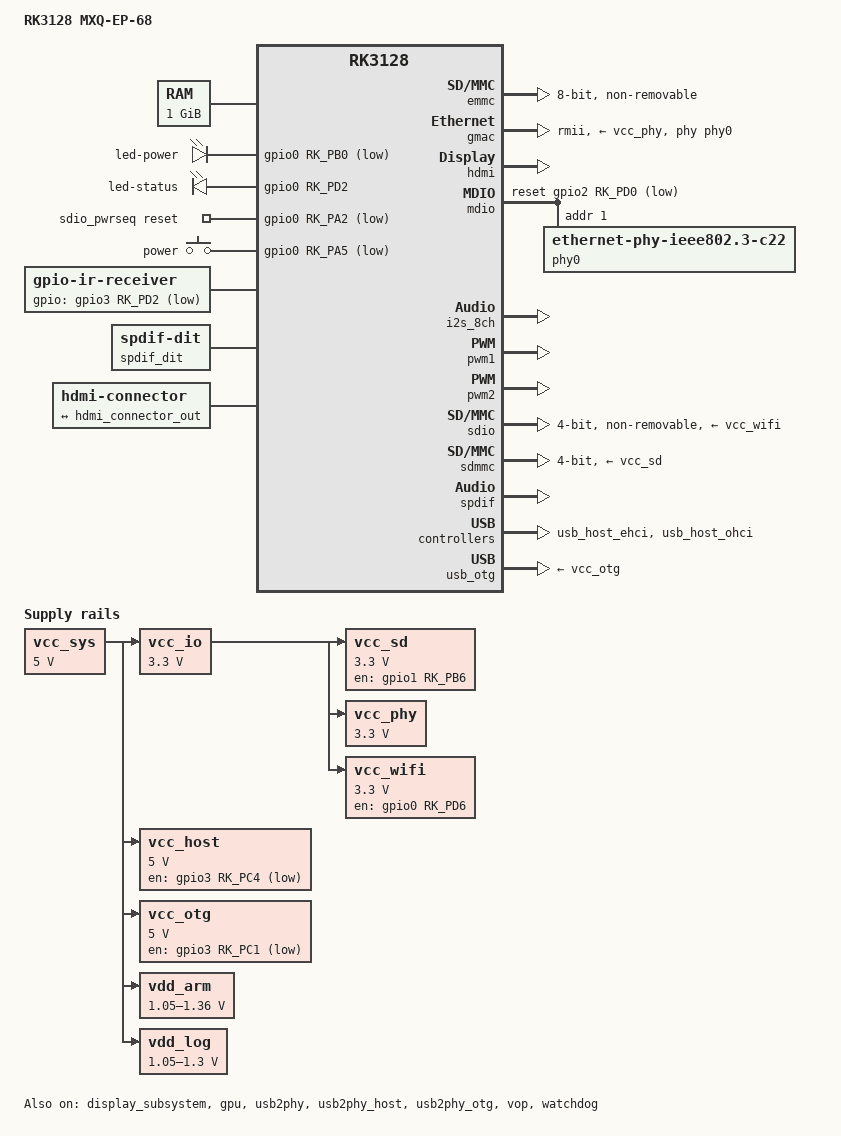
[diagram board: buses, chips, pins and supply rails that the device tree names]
// SPDX-License-Identifier: (GPL-2.0+ OR MIT)
/*
 * RK3128 MXQ-EP-68. The factory resource DTB is the source.
 * RAM is 1 GiB LPDDR2 at 0x60000000.
 * SD data pins GPIO1_C2 and GPIO1_C3 are also UART2.
 * Leave UART2 disabled so the SD slot keeps those pins.
 * The console is on HDMI (tty1).
 */

/dts-v1/;

#include <dt-bindings/gpio/gpio.h>
#include <dt-bindings/input/input.h>
#include <dt-bindings/leds/common.h>
#include <dt-bindings/pinctrl/rockchip.h>
#include "rk3128.dtsi"

/ {
	model = "RK3128 MXQ-EP-68";
	compatible = "rockchip,rk3128-box", "rockchip,rk3128";

	aliases {
		ethernet0 = &gmac;
		mmc0 = &sdmmc;
		mmc1 = &emmc;
		mmc2 = &sdio;
		serial2 = &uart2;
	};

	chosen {
		stdout-path = "serial2:115200n8";
	};

	memory@60000000 {
		device_type = "memory";
		reg = <0x60000000 0x40000000>;
	};

	leds {
		compatible = "gpio-leds";
		pinctrl-names = "default";
		pinctrl-0 = <&led_power &led_status>;

		led-power {
			gpios = <&gpio0 RK_PB0 GPIO_ACTIVE_LOW>;
			function = LED_FUNCTION_POWER;
			default-state = "on";
		};

		led-status {
			gpios = <&gpio0 RK_PD2 GPIO_ACTIVE_HIGH>;
			function = LED_FUNCTION_STATUS;
			linux,default-trigger = "heartbeat";
		};
	};

	sdio_pwrseq: sdio-pwrseq {
		compatible = "mmc-pwrseq-simple";
		pinctrl-names = "default";
		pinctrl-0 = <&wifi_reset>;
		reset-gpios = <&gpio0 RK_PA2 GPIO_ACTIVE_LOW>;
		post-power-on-delay-ms = <200>;
	};

	vcc_sys: regulator-vcc-sys {
		compatible = "regulator-fixed";
		regulator-name = "vcc_sys";
		regulator-min-microvolt = <5000000>;
		regulator-max-microvolt = <5000000>;
		regulator-always-on;
		regulator-boot-on;
	};

	vcc_io: regulator-vcc-io {
		compatible = "regulator-fixed";
		regulator-name = "vcc_io";
		regulator-min-microvolt = <3300000>;
		regulator-max-microvolt = <3300000>;
		regulator-always-on;
		regulator-boot-on;
		vin-supply = <&vcc_sys>;
	};

	vcc_sd: regulator-vcc-sd {
		compatible = "regulator-fixed";
		enable-active-high;
		gpio = <&gpio1 RK_PB6 GPIO_ACTIVE_HIGH>;
		pinctrl-names = "default";
		pinctrl-0 = <&sdmmc_pwren>;
		regulator-name = "vcc_sd";
		regulator-min-microvolt = <3300000>;
		regulator-max-microvolt = <3300000>;
		regulator-boot-on;
		vin-supply = <&vcc_io>;
	};

	vcc_phy: regulator-vcc-phy {
		compatible = "regulator-fixed";
		regulator-name = "vcc_phy";
		regulator-min-microvolt = <3300000>;
		regulator-max-microvolt = <3300000>;
		regulator-always-on;
		regulator-boot-on;
		vin-supply = <&vcc_io>;
	};

	vcc_wifi: regulator-vcc-wifi {
		compatible = "regulator-fixed";
		enable-active-high;
		gpio = <&gpio0 RK_PD6 GPIO_ACTIVE_HIGH>;
		pinctrl-names = "default";
		pinctrl-0 = <&wifi_pwr>;
		regulator-name = "vcc_wifi";
		regulator-min-microvolt = <3300000>;
		regulator-max-microvolt = <3300000>;
		startup-delay-us = <100000>;
		vin-supply = <&vcc_io>;
	};

	vcc_host: regulator-vcc-host {
		compatible = "regulator-fixed";
		gpio = <&gpio3 RK_PC4 GPIO_ACTIVE_LOW>;
		pinctrl-names = "default";
		pinctrl-0 = <&host_vbus_drv>;
		regulator-name = "vcc_host";
		regulator-min-microvolt = <5000000>;
		regulator-max-microvolt = <5000000>;
		regulator-always-on;
		regulator-boot-on;
		vin-supply = <&vcc_sys>;
	};

	vcc_otg: regulator-vcc-otg {
		compatible = "regulator-fixed";
		gpio = <&gpio3 RK_PC1 GPIO_ACTIVE_LOW>;
		pinctrl-names = "default";
		pinctrl-0 = <&otg_vbus_drv>;
		regulator-name = "vcc_otg";
		regulator-min-microvolt = <5000000>;
		regulator-max-microvolt = <5000000>;
		regulator-always-on;
		regulator-boot-on;
		vin-supply = <&vcc_sys>;
	};

	vdd_arm: regulator-vdd-arm {
		compatible = "pwm-regulator";
		pwms = <&pwm1 0 25000 1>;
		pwm-supply = <&vcc_sys>;
		regulator-name = "vdd_arm";
		/* Factory U-Boot: 1.25 V at 36 % inverted duty. */
		regulator-min-microvolt = <1050000>;
		regulator-max-microvolt = <1360000>;
		regulator-ramp-delay = <12500>;
		regulator-always-on;
		regulator-boot-on;
	};

	vdd_log: regulator-vdd-log {
		compatible = "pwm-regulator";
		pwms = <&pwm2 0 25000 1>;
		pwm-supply = <&vcc_sys>;
		regulator-name = "vdd_log";
		regulator-min-microvolt = <1050000>;
		regulator-max-microvolt = <1300000>;
		regulator-ramp-delay = <12500>;
		regulator-always-on;
		regulator-boot-on;
	};

	gpio-keys {
		compatible = "gpio-keys";
		pinctrl-names = "default";
		pinctrl-0 = <&power_key>;

		key-power {
			gpios = <&gpio0 RK_PA5 GPIO_ACTIVE_LOW>;
			label = "power";
			linux,code = <KEY_POWER>;
			wakeup-source;
		};
	};

	ir-receiver {
		compatible = "gpio-ir-receiver";
		gpios = <&gpio3 RK_PD2 GPIO_ACTIVE_LOW>;
		linux,rc-map-name = "rc-empty";
		pinctrl-names = "default";
		pinctrl-0 = <&ir_int>;
	};

	hdmi-sound {
		compatible = "simple-audio-card";
		simple-audio-card,name = "HDMI";
		simple-audio-card,format = "i2s";
		simple-audio-card,mclk-fs = <256>;

		simple-audio-card,cpu {
			sound-dai = <&i2s_8ch>;
		};

		simple-audio-card,codec {
			sound-dai = <&hdmi>;
		};
	};

	spdif-sound {
		compatible = "simple-audio-card";
		simple-audio-card,name = "SPDIF";

		simple-audio-card,cpu {
			sound-dai = <&spdif>;
		};

		simple-audio-card,codec {
			sound-dai = <&spdif_dit>;
		};
	};

	spdif_dit: spdif-dit {
		compatible = "linux,spdif-dit";
		#sound-dai-cells = <0>;
	};

	hdmi-connector {
		compatible = "hdmi-connector";
		type = "a";

		port {
			hdmi_connector_in: endpoint {
				remote-endpoint = <&hdmi_connector_out>;
			};
		};
	};
};

/*
 * vdd_arm and vdd_log cannot go below 1.05 V.
 * Raise the low OPPs so cpufreq and devfreq keep them.
 */
&cpu_opp_table {
	opp-216000000 {
		opp-microvolt = <1050000 1050000 1325000>;
	};

	opp-408000000 {
		opp-microvolt = <1050000 1050000 1325000>;
	};

	opp-600000000 {
		opp-microvolt = <1050000 1050000 1325000>;
	};

	opp-696000000 {
		opp-microvolt = <1050000 1050000 1325000>;
	};
};

&cpu0 {
	cpu-supply = <&vdd_arm>;
};

&display_subsystem {
	status = "okay";
};

&emmc {
	bus-width = <8>;
	cap-mmc-highspeed;
	max-frequency = <50000000>;
	non-removable;
	no-sd;
	no-sdio;
	disable-wp;
	keep-power-in-suspend;
	pinctrl-names = "default";
	pinctrl-0 = <&emmc_clk &emmc_cmd &emmc_bus8>;
	status = "okay";
};

&gmac {
	clock_in_out = "output";
	phy-mode = "rmii";
	phy-supply = <&vcc_phy>;
	phy-handle = <&phy0>;
	tx_delay = <0x30>;
	rx_delay = <0x10>;
	assigned-clocks = <&cru SCLK_MAC_SRC>;
	assigned-clock-rates = <50000000>;
	pinctrl-names = "default";
	pinctrl-0 = <&rmii_pins>;
	status = "okay";
};

&gpu {
	mali-supply = <&vdd_log>;
	status = "okay";
};

&gpu_opp_table {
	opp-200000000 {
		opp-microvolt = <1050000 1050000 1250000>;
	};
};

&hdmi {
	status = "okay";
};

&hdmi_out {
	hdmi_connector_out: endpoint {
		remote-endpoint = <&hdmi_connector_in>;
	};
};

&mdio {
	/*
	 * DP83848 PHY at address 1. The PHY answers on MDIO only after
	 * the 50 MHz RMII clock has run for 167 ms. The GMAC starts that
	 * clock just before the bus scan, so reset the PHY and wait.
	 */
	reset-gpios = <&gpio2 RK_PD0 GPIO_ACTIVE_LOW>;
	reset-delay-us = <10000>;
	reset-post-delay-us = <200000>;

	phy0: ethernet-phy@1 {
		compatible = "ethernet-phy-ieee802.3-c22";
		reg = <1>;
		max-speed = <100>;
	};
};

&i2s_8ch {
	status = "okay";
};

&pinctrl {
	ir {
		ir_int: ir-int {
			rockchip,pins = <3 RK_PD2 RK_FUNC_GPIO &pcfg_pull_none>;
		};
	};

	keys {
		power_key: power-key {
			rockchip,pins = <0 RK_PA5 RK_FUNC_GPIO &pcfg_pull_default>;
		};
	};

	leds {
		led_power: led-power {
			rockchip,pins = <0 RK_PB0 RK_FUNC_GPIO &pcfg_pull_none>;
		};

		led_status: led-status {
			rockchip,pins = <0 RK_PD2 RK_FUNC_GPIO &pcfg_pull_none>;
		};
	};

	usb-host {
		host_vbus_drv: host-vbus-drv {
			rockchip,pins = <3 RK_PC4 RK_FUNC_GPIO &pcfg_pull_none>;
		};
	};

	usb-otg {
		otg_vbus_drv: otg-vbus-drv {
			rockchip,pins = <3 RK_PC1 RK_FUNC_GPIO &pcfg_pull_none>;
		};
	};

	wifi {
		wifi_pwr: wifi-pwr {
			rockchip,pins = <0 RK_PD6 RK_FUNC_GPIO &pcfg_pull_none>;
		};

		wifi_reset: wifi-reset {
			rockchip,pins = <0 RK_PA2 RK_FUNC_GPIO &pcfg_pull_none>;
		};
	};
};

&pwm1 {
	status = "okay";
};

&pwm2 {
	status = "okay";
};

&sdio {
	bus-width = <4>;
	cap-sd-highspeed;
	cap-sdio-irq;
	disable-wp;
	keep-power-in-suspend;
	max-frequency = <37500000>;
	mmc-pwrseq = <&sdio_pwrseq>;
	non-removable;
	no-mmc;
	no-sd;
	pinctrl-names = "default";
	pinctrl-0 = <&sdio_clk &sdio_cmd &sdio_bus4>;
	vmmc-supply = <&vcc_wifi>;
	status = "okay";
};

&sdmmc {
	bus-width = <4>;
	cap-sd-highspeed;
	broken-cd;
	disable-wp;
	keep-power-in-suspend;
	max-frequency = <50000000>;
	no-mmc;
	no-sdio;
	pinctrl-names = "default";
	pinctrl-0 = <&sdmmc_clk &sdmmc_cmd &sdmmc_bus4>;
	rockchip,default-sample-phase = <90>;
	vmmc-supply = <&vcc_sd>;
	status = "okay";
};

&spdif {
	status = "okay";
};

&usb2phy {
	status = "okay";
};

&usb2phy_host {
	status = "okay";
};

&usb2phy_otg {
	status = "okay";
};

&usb_host_ehci {
	status = "okay";
};

&usb_host_ohci {
	status = "okay";
};

&usb_otg {
	vbus-supply = <&vcc_otg>;
	status = "okay";
};

&vop {
	status = "okay";
};

&watchdog {
	status = "okay";
};
